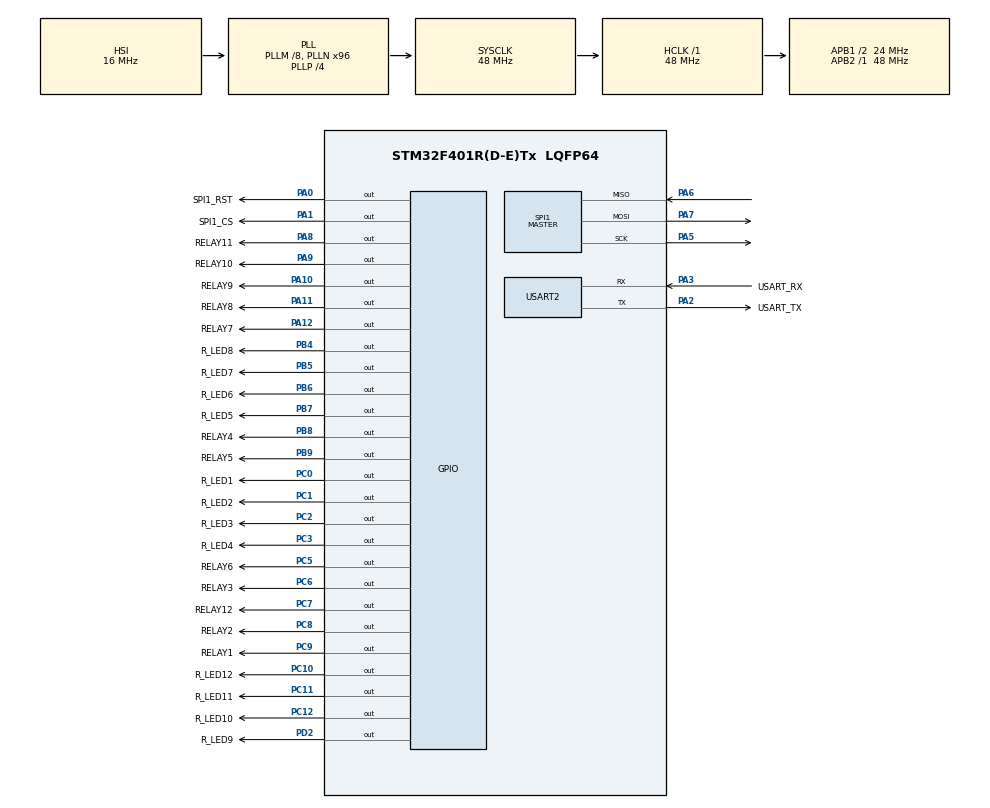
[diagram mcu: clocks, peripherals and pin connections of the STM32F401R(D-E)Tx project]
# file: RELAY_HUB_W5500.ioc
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FREERTOS.Tasks01=defaultTask,24,128,StartDefaultTask,Default,NULL,Dynamic,NULL,NULL
FREERTOS.configUSE_NEWLIB_REENTRANT=1
Mcu.Family=STM32F4
Mcu.Name=STM32F401R(D-E)Tx
Mcu.Package=LQFP64
NVIC.PriorityGroup=NVIC_PRIORITYGROUP_4
NVIC.TIM1_UP_TIM10_IRQn=true\:15\:0\:false\:false\:true\:false\:false\:true\:true
NVIC.TimeBase=TIM1_UP_TIM10_IRQn
NVIC.TimeBaseIP=TIM1
PA0-WKUP.GPIO_Label=SPI1_RST
PA0-WKUP.Signal=GPIO_Output
PA1.GPIO_Label=SPI1_CS
PA1.Signal=GPIO_Output
PA10.GPIO_Label=RELAY9
PA10.Signal=GPIO_Output
PA11.GPIO_Label=RELAY8
PA11.Signal=GPIO_Output
PA12.GPIO_Label=RELAY7
PA12.Signal=GPIO_Output
PA13.GPIO_Label=TMS
PA13.Mode=Serial_Wire
PA13.Signal=SYS_JTMS-SWDIO
PA14.GPIO_Label=TCK
PA14.Mode=Serial_Wire
PA14.Signal=SYS_JTCK-SWCLK
PA2.GPIO_Label=USART_TX
PA2.GPIO_Mode=GPIO_MODE_AF_PP
PA2.GPIO_PuPd=GPIO_NOPULL
PA2.GPIO_Speed=GPIO_SPEED_FREQ_LOW
PA2.Mode=Asynchronous
PA2.Signal=USART2_TX
PA3.GPIO_Label=USART_RX
PA3.GPIO_Mode=GPIO_MODE_AF_PP
PA3.GPIO_PuPd=GPIO_NOPULL
PA3.GPIO_Speed=GPIO_SPEED_FREQ_LOW
PA3.Mode=Asynchronous
PA3.Signal=USART2_RX
PA5.Mode=Full_Duplex_Master
PA5.Signal=SPI1_SCK
PA6.Mode=Full_Duplex_Master
PA6.Signal=SPI1_MISO
PA7.Mode=Full_Duplex_Master
PA7.Signal=SPI1_MOSI
PA8.GPIO_Label=RELAY11
PA8.Signal=GPIO_Output
PA9.GPIO_Label=RELAY10
PA9.Signal=GPIO_Output
PB3.GPIO_Label=SWO
PB3.Signal=SYS_JTDO-SWO
PB4.GPIO_Label=R_LED8
PB4.Signal=GPIO_Output
PB5.GPIO_Label=R_LED7
PB5.Signal=GPIO_Output
PB6.GPIO_Label=R_LED6
PB6.Signal=GPIO_Output
PB7.GPIO_Label=R_LED5
PB7.Signal=GPIO_Output
PB8.GPIO_Label=RELAY4
PB8.Signal=GPIO_Output
PB9.GPIO_Label=RELAY5
PB9.Signal=GPIO_Output
PC0.GPIO_Label=R_LED1
PC0.Signal=GPIO_Output
PC1.GPIO_Label=R_LED2
PC1.Signal=GPIO_Output
PC10.GPIO_Label=R_LED12
PC10.Signal=GPIO_Output
PC11.GPIO_Label=R_LED11
PC11.Signal=GPIO_Output
PC12.GPIO_Label=R_LED10
PC12.Signal=GPIO_Output
PC14-OSC32_IN.Mode=LSE-External-Oscillator
PC14-OSC32_IN.Signal=RCC_OSC32_IN
PC15-OSC32_OUT.Mode=LSE-External-Oscillator
PC15-OSC32_OUT.Signal=RCC_OSC32_OUT
PC2.GPIO_Label=R_LED3
PC2.Signal=GPIO_Output
PC3.GPIO_Label=R_LED4
PC3.Signal=GPIO_Output
PC5.GPIO_Label=RELAY6
PC5.Signal=GPIO_Output
PC6.GPIO_Label=RELAY3
PC6.Signal=GPIO_Output
PC7.GPIO_Label=RELAY12
PC7.Signal=GPIO_Output
PC8.GPIO_Label=RELAY2
PC8.Signal=GPIO_Output
PC9.GPIO_Label=RELAY1
PC9.Signal=GPIO_Output
PD2.GPIO_Label=R_LED9
PD2.Signal=GPIO_Output
PH0\ -\ OSC_IN.Mode=HSE-External-Oscillator
PH0\ -\ OSC_IN.Signal=RCC_OSC_IN
PH1\ -\ OSC_OUT.Mode=HSE-External-Oscillator
PH1\ -\ OSC_OUT.Signal=RCC_OSC_OUT
ProjectManager.HeapSize=0x200
ProjectManager.StackSize=0x400
ProjectManager.TargetToolchain=STM32CubeIDE
RCC.48MHZClocksFreq_Value=27428571.42857143
RCC.AHBFreq_Value=48000000
RCC.APB1CLKDivider=RCC_HCLK_DIV2
RCC.APB1Freq_Value=24000000
RCC.APB1TimFreq_Value=48000000
RCC.APB2Freq_Value=48000000
RCC.APB2TimFreq_Value=48000000
RCC.CortexFreq_Value=48000000
RCC.HCLKFreq_Value=48000000
RCC.HSE_VALUE=8000000
RCC.HSI_VALUE=16000000
RCC.PLLM=8
RCC.PLLN=96
RCC.PLLP=RCC_PLLP_DIV4
RCC.PLLQ=7
RCC.SYSCLKFreq_VALUE=48000000
RCC.SYSCLKSource=RCC_SYSCLKSOURCE_PLLCLK
RCC.VCOOutputFreq_Value=192000000
SPI1.BaudRatePrescaler=SPI_BAUDRATEPRESCALER_4
SPI1.Direction=SPI_DIRECTION_2LINES
SPI1.Mode=SPI_MODE_MASTER
SPI1.VirtualType=VM_MASTER
USART2.VirtualMode=VM_ASYNC
VP_FREERTOS_VS_CMSIS_V2.Mode=CMSIS_V2
VP_SYS_VS_tim1.Mode=TIM1
board=NUCLEO-F401RE

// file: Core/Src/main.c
/* USER CODE BEGIN Header */
/**
  ******************************************************************************
  * @file           : main.c
  * @brief          : Main program body
  ******************************************************************************
  * @attention
  *
  * Copyright (c) 2024 STMicroelectronics.
  * All rights reserved.
  *
  * This software is licensed under terms that can be found in the LICENSE file
  * in the root directory of this software component.
  * If no LICENSE file comes with this software, it is provided AS-IS.
  *
  ******************************************************************************
  */
/* USER CODE END Header */
#include "main.h"
#include "cmsis_os.h"

/* USER CODE BEGIN Includes */
#include <time.h>
#include <stdio.h>
#include <stdio.h>
#include <stdarg.h>
#include <string.h>
#include <stdbool.h>

#include "dns.h"
#include "dhcp.h"
#include "cJSON.h"
#include "socket.h"
#include "w5500_spi.h"
#include "MQTTClient.h"
#include "wizchip_conf.h"
#include "mqtt_interface.h"
/* USER CODE END Includes */

/* USER CODE BEGIN PTD */
#define DHCP_BUFF_SIZE	   2048

#define SOCKET_ID_FOR_DHCP 7
#define SOCKET_ID_FOR_DNS  6

#define MQTT_EVENT_QUEUE_SIZE 64

#define RELAY_TASK_STACK_SIZE 512
#define MQTT_TASK_STACK_SIZE 1024

#define RELAY_TASK_PRIORITY 2
#define MQTT_TASK_PRIORITY 3

//#define CLIENT_ID wired001
/* USER CODE END PTD */

SPI_HandleTypeDef hspi1;

UART_HandleTypeDef huart2;

/* Definitions for defaultTask */
osThreadId_t defaultTaskHandle;
const osThreadAttr_t defaultTask_attributes = {
  .name = "defaultTask",
  .stack_size = 128 * 4,
  .priority = (osPriority_t) osPriorityNormal,
};
/* USER CODE BEGIN PV */

osThreadId_t relayTaskHandle;
osThreadId_t mqttTaskHandle;
osMessageQueueId_t mqttMessageQueueHandle;

//IP Address of the MQTT broker
uint8_t dhcp_buffer[DHCP_BUFF_SIZE];
uint8_t destination_ip[]={192,168,1,36};
uint16_t destination_port = 1883;

MQTTClient mqtt_client;
Network network;
MQTTPacket_connectData connect_data = MQTTPacket_connectData_initializer;
MQTTMessage msg={QOS0,0,0,1,"Hii this is Bala!",14};

uint8_t sendbuff[256],receivebuff[256];

wiz_NetInfo gWIZNETINFO =
{
	.mac  = { 0x00, 0x08, 0xDC, 0x74, 0xA5, 0xCD },
	.ip   = { 192, 168, 2, 112 },
	.sn   = { 255, 255, 255, 0 },
	.gw   = { 192, 168, 60, 1 },
	.dns  = { 8, 8, 8, 8 },
	.dhcp = NETINFO_STATIC
};
uint8_t dns_buffer[MAX_DNS_BUF_SIZE];
extern bool StateChangeFlag;
bool tempflag = false;
uint8_t dns_ip[4] = {8,8,8,8};
char* remote_host = "mqtt.onwords.in";
uint8_t remote_host_ip[4];
uint8_t chk = 1;
int result;
char message_payload[64];

char* CLIENT_ID = "hub001";

/* USER CODE END PV */

void SystemClock_Config(void);
static void MX_GPIO_Init(void);
static void MX_USART2_UART_Init(void);
static void MX_SPI1_Init(void);
void StartDefaultTask(void *argument);

/* USER CODE BEGIN PFP */
void Task_MQTTHandler(void *argument);
static void PHYStatusCheck(void);
static void PrintPHYConf(void);
void OnDHCPIPAssigned(void);
void DisplayNetworkConfigurations();
void FlushQueue(osMessageQueueId_t queueHandle);
void MessageArrivedHandler(MessageData *data);
void Task_RelayHandler(void *argument);
/* USER CODE END PFP */

int main(void)
{

  /* MCU Configuration--------------------------------------------------------*/

  /* Reset of all peripherals, Initializes the Flash interface and the Systick. */
  HAL_Init();

  /* Configure the system clock */
  SystemClock_Config();

  /* Initialize all configured peripherals */
  MX_GPIO_Init();
  MX_USART2_UART_Init();
  MX_SPI1_Init();
  /* USER CODE BEGIN 2 */
	printf("program_Started\r\n");
    printf("program starts succesfully\n\r");

	W5500Init();

	//Configure PHY by software
	wiz_PhyConf phyconf;
	phyconf.by     = PHY_CONFBY_SW;
	phyconf.duplex = PHY_DUPLEX_FULL;
	phyconf.speed  = PHY_SPEED_10;
	phyconf.mode   = PHY_MODE_AUTONEGO;
	ctlwizchip(CW_SET_PHYCONF, (void*) &phyconf);

	PHYStatusCheck();
	PrintPHYConf();
  /* USER CODE END 2 */

  /* Init scheduler */
  osKernelInitialize();

  /* USER CODE BEGIN RTOS_QUEUES */
  mqttMessageQueueHandle = osMessageQueueNew(MQTT_EVENT_QUEUE_SIZE, sizeof(uint8_t), NULL);
  if (mqttMessageQueueHandle == NULL)
  {
          printf("Failed to create MQTT message queue.\n");
  }
  /* add queues, ... */
  /* USER CODE END RTOS_QUEUES */

  /* Create the thread(s) */
  /* creation of defaultTask */
  defaultTaskHandle = osThreadNew(StartDefaultTask, NULL, &defaultTask_attributes);

  /* USER CODE BEGIN RTOS_EVENTS */
//  osThreadNew(Task_RelayHandler, NULL, &(osThreadAttr_t){
//  	  .name = "RelayTask",
//  	  .priority = (osPriority_t)RELAY_TASK_PRIORITY,
//  	  .stack_size = RELAY_TASK_STACK_SIZE
//  	});

  	osThreadNew(Task_MQTTHandler, NULL, &(osThreadAttr_t){
  	  .name = "MQTTTask",
  	  .priority = (osPriority_t)MQTT_TASK_PRIORITY,
  	  .stack_size = MQTT_TASK_STACK_SIZE
  	});
  /* add events, ... */
  /* USER CODE END RTOS_EVENTS */

  /* Start scheduler */
  osKernelStart();

  /* We should never get here as control is now taken by the scheduler */

  /* Infinite loop */
  /* USER CODE BEGIN WHILE */
  while (1)
  {
	  //Run_Mqtt();
    /* USER CODE END WHILE */

  }
}

void SystemClock_Config(void)
{
  RCC_OscInitTypeDef RCC_OscInitStruct = {0};
  RCC_ClkInitTypeDef RCC_ClkInitStruct = {0};

  /** Configure the main internal regulator output voltage
  */
  __HAL_RCC_PWR_CLK_ENABLE();
  __HAL_PWR_VOLTAGESCALING_CONFIG(PWR_REGULATOR_VOLTAGE_SCALE2);

  /** Initializes the RCC Oscillators according to the specified parameters
  * in the RCC_OscInitTypeDef structure.
  */
  RCC_OscInitStruct.OscillatorType = RCC_OSCILLATORTYPE_HSI;
  RCC_OscInitStruct.HSIState = RCC_HSI_ON;
  RCC_OscInitStruct.HSICalibrationValue = RCC_HSICALIBRATION_DEFAULT;
  RCC_OscInitStruct.PLL.PLLState = RCC_PLL_ON;
  RCC_OscInitStruct.PLL.PLLSource = RCC_PLLSOURCE_HSI;
  RCC_OscInitStruct.PLL.PLLM = 8;
  RCC_OscInitStruct.PLL.PLLN = 96;
  RCC_OscInitStruct.PLL.PLLP = RCC_PLLP_DIV4;
  RCC_OscInitStruct.PLL.PLLQ = 7;
  if (HAL_RCC_OscConfig(&RCC_OscInitStruct) != HAL_OK)
  {
    Error_Handler();
  }

  /** Initializes the CPU, AHB and APB buses clocks
  */
  RCC_ClkInitStruct.ClockType = RCC_CLOCKTYPE_HCLK|RCC_CLOCKTYPE_SYSCLK
                              |RCC_CLOCKTYPE_PCLK1|RCC_CLOCKTYPE_PCLK2;
  RCC_ClkInitStruct.SYSCLKSource = RCC_SYSCLKSOURCE_PLLCLK;
  RCC_ClkInitStruct.AHBCLKDivider = RCC_SYSCLK_DIV1;
  RCC_ClkInitStruct.APB1CLKDivider = RCC_HCLK_DIV2;
  RCC_ClkInitStruct.APB2CLKDivider = RCC_HCLK_DIV1;

  if (HAL_RCC_ClockConfig(&RCC_ClkInitStruct, FLASH_LATENCY_1) != HAL_OK)
  {
    Error_Handler();
  }
}

static void MX_SPI1_Init(void)
{

  /* SPI1 parameter configuration*/
  hspi1.Instance = SPI1;
  hspi1.Init.Mode = SPI_MODE_MASTER;
  hspi1.Init.Direction = SPI_DIRECTION_2LINES;
  hspi1.Init.DataSize = SPI_DATASIZE_8BIT;
  hspi1.Init.CLKPolarity = SPI_POLARITY_LOW;
  hspi1.Init.CLKPhase = SPI_PHASE_1EDGE;
  hspi1.Init.NSS = SPI_NSS_SOFT;
  hspi1.Init.BaudRatePrescaler = SPI_BAUDRATEPRESCALER_4;
  hspi1.Init.FirstBit = SPI_FIRSTBIT_MSB;
  hspi1.Init.TIMode = SPI_TIMODE_DISABLE;
  hspi1.Init.CRCCalculation = SPI_CRCCALCULATION_DISABLE;
  hspi1.Init.CRCPolynomial = 10;
  if (HAL_SPI_Init(&hspi1) != HAL_OK)
  {
    Error_Handler();
  }
  /* USER CODE BEGIN SPI1_Init 2 */
  __HAL_SPI_ENABLE(&hspi1);
  /* USER CODE END SPI1_Init 2 */

}

static void MX_USART2_UART_Init(void)
{

  huart2.Instance = USART2;
  huart2.Init.BaudRate = 115200;
  huart2.Init.WordLength = UART_WORDLENGTH_8B;
  huart2.Init.StopBits = UART_STOPBITS_1;
  huart2.Init.Parity = UART_PARITY_NONE;
  huart2.Init.Mode = UART_MODE_TX_RX;
  huart2.Init.HwFlowCtl = UART_HWCONTROL_NONE;
  huart2.Init.OverSampling = UART_OVERSAMPLING_16;
  if (HAL_UART_Init(&huart2) != HAL_OK)
  {
    Error_Handler();
  }

}

static void MX_GPIO_Init(void)
{
  GPIO_InitTypeDef GPIO_InitStruct = {0};

  /* GPIO Ports Clock Enable */
  __HAL_RCC_GPIOC_CLK_ENABLE();
  __HAL_RCC_GPIOH_CLK_ENABLE();
  __HAL_RCC_GPIOA_CLK_ENABLE();
  __HAL_RCC_GPIOD_CLK_ENABLE();
  __HAL_RCC_GPIOB_CLK_ENABLE();

  /*Configure GPIO pin Output Level */
  HAL_GPIO_WritePin(GPIOC, R_LED1_Pin|R_LED2_Pin|R_LED3_Pin|R_LED4_Pin
                          |RELAY6_Pin|RELAY3_Pin|RELAY12_Pin|RELAY2_Pin
                          |RELAY1_Pin|R_LED12_Pin|R_LED11_Pin|R_LED10_Pin, GPIO_PIN_RESET);

  /*Configure GPIO pin Output Level */
  HAL_GPIO_WritePin(GPIOA, SPI1_RST_Pin|SPI1_CS_Pin|RELAY11_Pin|RELAY10_Pin
                          |RELAY9_Pin|RELAY8_Pin|RELAY7_Pin, GPIO_PIN_RESET);

  /*Configure GPIO pin Output Level */
  HAL_GPIO_WritePin(R_LED9_GPIO_Port, R_LED9_Pin, GPIO_PIN_RESET);

  /*Configure GPIO pin Output Level */
  HAL_GPIO_WritePin(GPIOB, R_LED8_Pin|R_LED7_Pin|R_LED6_Pin|R_LED5_Pin
                          |RELAY4_Pin|RELAY5_Pin, GPIO_PIN_RESET);

  /*Configure GPIO pins : R_LED1_Pin R_LED2_Pin R_LED3_Pin R_LED4_Pin
                           RELAY6_Pin RELAY3_Pin RELAY12_Pin RELAY2_Pin
                           RELAY1_Pin R_LED12_Pin R_LED11_Pin R_LED10_Pin */
  GPIO_InitStruct.Pin = R_LED1_Pin|R_LED2_Pin|R_LED3_Pin|R_LED4_Pin
                          |RELAY6_Pin|RELAY3_Pin|RELAY12_Pin|RELAY2_Pin
                          |RELAY1_Pin|R_LED12_Pin|R_LED11_Pin|R_LED10_Pin;
  GPIO_InitStruct.Mode = GPIO_MODE_OUTPUT_PP;
  GPIO_InitStruct.Pull = GPIO_NOPULL;
  GPIO_InitStruct.Speed = GPIO_SPEED_FREQ_LOW;
  HAL_GPIO_Init(GPIOC, &GPIO_InitStruct);

  /*Configure GPIO pins : SPI1_RST_Pin SPI1_CS_Pin RELAY11_Pin RELAY10_Pin
                           RELAY9_Pin RELAY8_Pin RELAY7_Pin */
  GPIO_InitStruct.Pin = SPI1_RST_Pin|SPI1_CS_Pin|RELAY11_Pin|RELAY10_Pin
                          |RELAY9_Pin|RELAY8_Pin|RELAY7_Pin;
  GPIO_InitStruct.Mode = GPIO_MODE_OUTPUT_PP;
  GPIO_InitStruct.Pull = GPIO_NOPULL;
  GPIO_InitStruct.Speed = GPIO_SPEED_FREQ_LOW;
  HAL_GPIO_Init(GPIOA, &GPIO_InitStruct);

  /*Configure GPIO pin : R_LED9_Pin */
  GPIO_InitStruct.Pin = R_LED9_Pin;
  GPIO_InitStruct.Mode = GPIO_MODE_OUTPUT_PP;
  GPIO_InitStruct.Pull = GPIO_NOPULL;
  GPIO_InitStruct.Speed = GPIO_SPEED_FREQ_LOW;
  HAL_GPIO_Init(R_LED9_GPIO_Port, &GPIO_InitStruct);

  /*Configure GPIO pins : R_LED8_Pin R_LED7_Pin R_LED6_Pin R_LED5_Pin
                           RELAY4_Pin RELAY5_Pin */
  GPIO_InitStruct.Pin = R_LED8_Pin|R_LED7_Pin|R_LED6_Pin|R_LED5_Pin
                          |RELAY4_Pin|RELAY5_Pin;
  GPIO_InitStruct.Mode = GPIO_MODE_OUTPUT_PP;
  GPIO_InitStruct.Pull = GPIO_NOPULL;
  GPIO_InitStruct.Speed = GPIO_SPEED_FREQ_LOW;
  HAL_GPIO_Init(GPIOB, &GPIO_InitStruct);

}

/* USER CODE BEGIN 4 */

//void Task_RelayHandler(void *argument)
//{
//	uint8_t prev_SwitchState = 0;
//	uint8_t Switch_CurrentState = 0;
//	uint8_t state;
//	GPIO_PinState switchState;
//	while(1)
//	{
//		Switch_CurrentState = HAL_GPIO_ReadPin(Manual_switch_GPIO_Port, Manual_switch_Pin);
//		if (Switch_CurrentState != prev_SwitchState)
//		{
//			switchState = HAL_GPIO_ReadPin(Manual_switch_GPIO_Port, Manual_switch_Pin);
//			state = (switchState == GPIO_PIN_SET) ? 1 : 0;
//			if(state == 1)
//			{
//				HAL_GPIO_WritePin(RELAY1_GPIO_Port, RELAY1_Pin, GPIO_PIN_SET);
//				HAL_GPIO_WritePin(RELAY2_GPIO_Port, RELAY2_Pin, GPIO_PIN_SET);
//				HAL_GPIO_WritePin(RELAY3_GPIO_Port, RELAY3_Pin, GPIO_PIN_SET);
//				HAL_GPIO_WritePin(RELAY4_GPIO_Port, RELAY4_Pin, GPIO_PIN_SET);
//				printf("relays are switch ON by manual switch\n\r");
//			}
//			else
//			{
//				HAL_GPIO_WritePin(RELAY1_GPIO_Port, RELAY1_Pin, GPIO_PIN_RESET);
//				HAL_GPIO_WritePin(RELAY2_GPIO_Port, RELAY2_Pin, GPIO_PIN_RESET);
//				HAL_GPIO_WritePin(RELAY3_GPIO_Port, RELAY3_Pin, GPIO_PIN_RESET);
//				HAL_GPIO_WritePin(RELAY4_GPIO_Port, RELAY4_Pin, GPIO_PIN_RESET);
//			}
//
//		}
//		osDelay(100);
//	}
//}

void Task_MQTTHandler(void *argument)
{
    uint8_t result;
    uint8_t remote_host_ip[4];
    int connection_status;

    DHCP_init(SOCKET_ID_FOR_DHCP, dhcp_buffer);
    reg_dhcp_cbfunc(OnDHCPIPAssigned, NULL, NULL);
    printf("Obtaining IP address ...\r\n");

    // MQTT Client Configuration
    connect_data.willFlag = 0;
    connect_data.MQTTVersion = 3;
    connect_data.clientID.cstring = CLIENT_ID;
    connect_data.username.cstring = "Nikhil";
    connect_data.password.cstring = "Nikhil8182";
    connect_data.keepAliveInterval = 60; // seconds
    connect_data.cleansession = 1;

    NewNetwork(&network, 1); // 1 is the socket number to use
    DNS_init(SOCKET_ID_FOR_DNS, dns_buffer);

    while (StateChangeFlag == false)
    {
        DHCP_run();
    }
    printf("Resolving hostname: %s\n", remote_host);

    while (1)
    {
        if ((tempflag == false) && (StateChangeFlag == true))
        {
            result = DNS_run(dns_ip, (uint8_t *)remote_host, remote_host_ip);
            if (result != 1)
            {
                printf("FAILED!");

                while (1)
                    ;
            }
            printf("Success! The IP of %s is %d.%d.%d.%d", remote_host, remote_host_ip[0],
                   remote_host_ip[1], remote_host_ip[2], remote_host_ip[3]);

            chk = 2;
            tempflag = true;
        }
        else if (chk == 2)
        {
            connection_status = ConnectNetwork(&network, remote_host_ip, destination_port);
            if (connection_status != SOCK_OK)
            {
                printf("ERROR: Cannot connect with broker! Retrying in 5 seconds...\r\n");
                osDelay(5000);
                continue;
            }

            MQTTClientInit(&mqtt_client, &network, 1000, sendbuff, 256, receivebuff, 256);

            if (MQTTConnect(&mqtt_client, &connect_data) != MQTT_SUCCESS)
            {
                printf("\n MQTT BROKER CONNECTION ERROR. Retrying in 5 seconds...\r\n");
                osDelay(5000);
                continue;
            }
            printf("\n MQTT BROKER CONNECTION SUCCESS. . . \r\n");
            chk = 3;
        }
        else if (chk == 3)
        {
            MQTTSubscribe(&mqtt_client, "onwords/wired003/status", QOS0, MessageArrivedHandler);
            printf("Subscribed topic....onwords/wired003/status.....\r\n");
            chk = 4;
        }
        else if (chk == 4)
        {
        	while(1)
        	{
        		connection_status = MQTTYield(&mqtt_client, 100);
				if (connection_status != MQTT_SUCCESS)
				{
				   printf("MQTTYield failed. Reconnecting...\r\n");
				   chk = 2;
				   break;
				}
				osDelay(100);
        	}

        }
    }
}

void MessageArrivedHandler(MessageData *data)
{
    char received_payload[64];
    char topic_name[64];

    strncpy(topic_name, data->topicName->lenstring.data, data->topicName->lenstring.len);
    topic_name[data->topicName->lenstring.len] = '\0';

    strncpy(received_payload, data->message->payload, data->message->payloadlen);
    received_payload[data->message->payloadlen] = '\0';

    for (int i = strlen(received_payload) - 1; i >= 0; i--)
    {
        if (received_payload[i] == '\r' || received_payload[i] == '\n' || received_payload[i] == ' ')
        {
            received_payload[i] = '\0';
        }
        else
        {
            break;
        }
    }
    printf("Message arrived on topic %s: %s\n", topic_name, received_payload);
    cJSON *json = cJSON_Parse(received_payload);
    if (json == NULL) {
        printf("jSON parse failed..");
    }

    cJSON *device1 = cJSON_GetObjectItemCaseSensitive(json, "device1");
	if (cJSON_IsNumber(device1)) {
		HAL_GPIO_WritePin(RELAY1_GPIO_Port, RELAY1_Pin, device1->valueint ? GPIO_PIN_SET : GPIO_PIN_RESET);
	}

	cJSON *device2 = cJSON_GetObjectItemCaseSensitive(json, "device2");
	if (cJSON_IsNumber(device2)) {
		HAL_GPIO_WritePin(RELAY2_GPIO_Port, RELAY2_Pin, device2->valueint ? GPIO_PIN_SET : GPIO_PIN_RESET);

	}

	cJSON *device3 = cJSON_GetObjectItemCaseSensitive(json, "device3");
	if (cJSON_IsNumber(device3)) {
		HAL_GPIO_WritePin(RELAY3_GPIO_Port, RELAY3_Pin, device3->valueint ? GPIO_PIN_SET : GPIO_PIN_RESET);

	}

	cJSON *device4 = cJSON_GetObjectItemCaseSensitive(json, "device4");
	if (cJSON_IsNumber(device4)) {
		HAL_GPIO_WritePin(RELAY4_GPIO_Port, RELAY4_Pin, device4->valueint ? GPIO_PIN_SET : GPIO_PIN_RESET);
	}

	cJSON *device5 = cJSON_GetObjectItemCaseSensitive(json, "relay5");
	if (cJSON_IsNumber(device5)) {
		HAL_GPIO_WritePin(RELAY5_GPIO_Port, RELAY5_Pin, device5->valueint ? GPIO_PIN_SET : GPIO_PIN_RESET);
	}

	cJSON *device6 = cJSON_GetObjectItemCaseSensitive(json, "relay6");
	if (cJSON_IsNumber(device6)) {
		HAL_GPIO_WritePin(RELAY6_GPIO_Port, RELAY6_Pin, device6->valueint ? GPIO_PIN_SET : GPIO_PIN_RESET);
	}

	cJSON *device7 = cJSON_GetObjectItemCaseSensitive(json, "relay7");
	if (cJSON_IsNumber(device7)) {
		HAL_GPIO_WritePin(RELAY7_GPIO_Port, RELAY7_Pin, device7->valueint ? GPIO_PIN_SET : GPIO_PIN_RESET);
	}

	cJSON *device8 = cJSON_GetObjectItemCaseSensitive(json, "relay8");
	if (cJSON_IsNumber(device8)) {
		HAL_GPIO_WritePin(RELAY8_GPIO_Port, RELAY8_Pin, device8->valueint ? GPIO_PIN_SET : GPIO_PIN_RESET);
	}
	cJSON_Delete(json);
}

void FlushQueue(osMessageQueueId_t queueHandle) {
    uint32_t received_message;
    while (osMessageQueueGet(queueHandle, &received_message, NULL, 0) == osOK) {
        // Loop until the queue is empty
        printf("Flushing event: %lu\r\n", received_message);
    }
}

#define PUTCHAR  int __io_putchar(int ch)
PUTCHAR
{
	HAL_UART_Transmit(&huart2, (uint8_t*)&ch, 1, HAL_MAX_DELAY);
	return ch;
}

void PHYStatusCheck(void)
{
	uint8_t tmp;
	do
	{
		printf("\r\nChecking Ethernet Cable Presence ...");
		ctlwizchip(CW_GET_PHYLINK, (void*) &tmp);

		if(tmp == PHY_LINK_OFF)
		{
			printf("NO Cable Connected!");
			HAL_Delay(1500);
		}
	}while(tmp == PHY_LINK_OFF);

	printf("Good! Cable got connected!");
}

void PrintPHYConf(void)
{
	wiz_PhyConf phyconf;

	ctlwizchip(CW_GET_PHYCONF, (void*) &phyconf);

	if(phyconf.by==PHY_CONFBY_HW)
	{
		printf("\n\rPHY Configured by Hardware Pins");
	}
	else
	{
		printf("\n\rPHY Configured by Registers");
	}

	if(phyconf.mode==PHY_MODE_AUTONEGO)
	{
		printf("\n\rAutonegotiation Enabled");
	}
	else
	{
		printf("\n\rAutonegotiation NOT Enabled");
	}

	if(phyconf.duplex==PHY_DUPLEX_FULL)
	{
		printf("\n\rDuplex Mode: Full");
	}
	else
	{
		printf("\n\rDuplex Mode: Half");
	}

	if(phyconf.speed==PHY_SPEED_10)
	{
		printf("\n\rSpeed: 10Mbps");
	}
	else
	{
		printf("\n\rSpeed: 100Mbps");
	}
}

void OnDHCPIPAssigned(void)
{

	printf("IP Obtained: \r\n");
	getIPfromDHCP(gWIZNETINFO.ip);
	getGWfromDHCP(gWIZNETINFO.gw);
	getSNfromDHCP(gWIZNETINFO.sn);
	getDNSfromDHCP(gWIZNETINFO.dns);

	gWIZNETINFO.dhcp = NETINFO_DHCP;

	ctlnetwork(CN_SET_NETINFO, (void*) &gWIZNETINFO);

	DisplayNetworkConfigurations();
}

void DisplayNetworkConfigurations()
{
	ctlnetwork(CN_GET_NETINFO, (void*) &gWIZNETINFO);

	printf(" MAC : %02X:%02X:%02X:%02X:%02X:%02X\r\n", gWIZNETINFO.mac[0], gWIZNETINFO.mac[1], gWIZNETINFO.mac[2], gWIZNETINFO.mac[3], gWIZNETINFO.mac[4], gWIZNETINFO.mac[5]);
	printf(" IP : %d.%d.%d.%d\r\n", gWIZNETINFO.ip[0], gWIZNETINFO.ip[1], gWIZNETINFO.ip[2], gWIZNETINFO.ip[3]);
	printf(" GW : %d.%d.%d.%d\r\n", gWIZNETINFO.gw[0], gWIZNETINFO.gw[1], gWIZNETINFO.gw[2], gWIZNETINFO.gw[3]);
	printf(" SN : %d.%d.%d.%d\r\n", gWIZNETINFO.sn[0], gWIZNETINFO.sn[1], gWIZNETINFO.sn[2], gWIZNETINFO.sn[3]);
	printf("=======================================\r\n");
}
/* USER CODE END 4 */

void StartDefaultTask(void *argument)
{
  for(;;)
  {
    osDelay(1);
  }
}

void HAL_TIM_PeriodElapsedCallback(TIM_HandleTypeDef *htim)
{
  /* USER CODE BEGIN Callback 0 */
	//printf("HAL_Tick\r\n");
  /* USER CODE END Callback 0 */
  if (htim->Instance == TIM1) {
    HAL_IncTick();
  }
  /* USER CODE BEGIN Callback 1 */
  MilliTimer_Handler(); //For MQTT

   //One second callback for DHCP Module
   static uint16_t milli_count;
   milli_count++;

 	if(milli_count==1000)
 	{
 	  milli_count=0;
 	  DHCP_time_handler();
 	  DNS_time_handler();
 	}
  /* USER CODE END Callback 1 */
}

void Error_Handler(void)
{
  __disable_irq();
  while (1)
  {
  }
}
